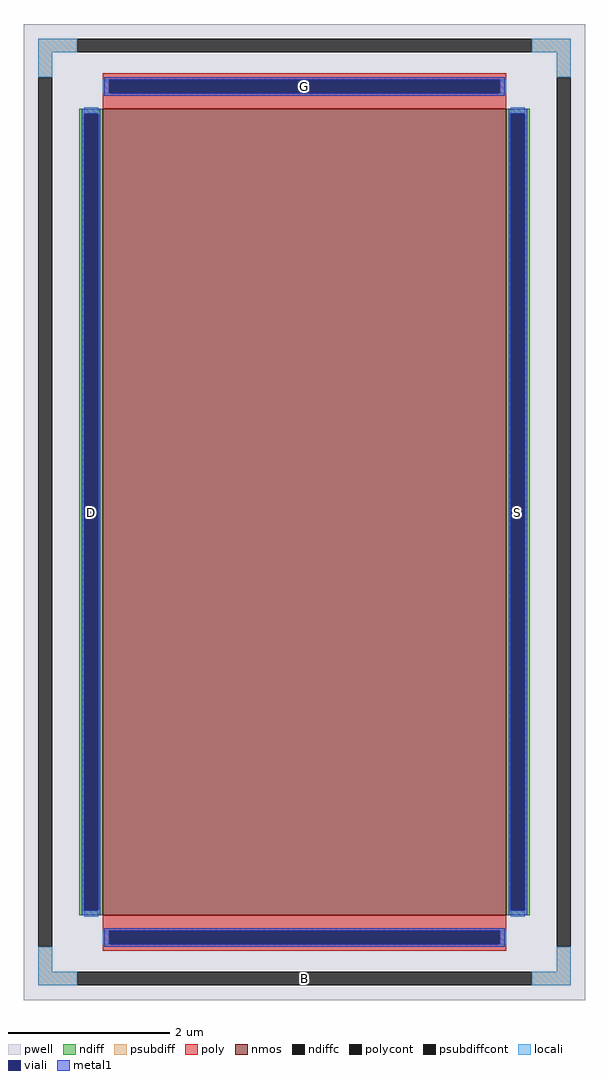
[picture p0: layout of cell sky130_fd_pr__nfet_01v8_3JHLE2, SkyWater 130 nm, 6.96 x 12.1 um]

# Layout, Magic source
magic
tech sky130A
magscale 1 2
<< pwell >>
rect -696 -1210 696 1210
<< nmos >>
rect -500 -1000 500 1000
<< ndiff >>
rect -558 988 -500 1000
rect -558 -988 -546 988
rect -512 -988 -500 988
rect -558 -1000 -500 -988
rect 500 988 558 1000
rect 500 -988 512 988
rect 546 -988 558 988
rect 500 -1000 558 -988
<< ndiffc >>
rect -546 -988 -512 988
rect 512 -988 546 988
<< psubdiff >>
rect -660 1140 -564 1174
rect 564 1140 660 1174
rect -660 1078 -626 1140
rect 626 1078 660 1140
rect -660 -1140 -626 -1078
rect 626 -1140 660 -1078
rect -660 -1174 -564 -1140
rect 564 -1174 660 -1140
<< psubdiffcont >>
rect -564 1140 564 1174
rect -660 -1078 -626 1078
rect 626 -1078 660 1078
rect -564 -1174 564 -1140
<< poly >>
rect -500 1072 500 1088
rect -500 1038 -484 1072
rect 484 1038 500 1072
rect -500 1000 500 1038
rect -500 -1038 500 -1000
rect -500 -1072 -484 -1038
rect 484 -1072 500 -1038
rect -500 -1088 500 -1072
<< polycont >>
rect -484 1038 484 1072
rect -484 -1072 484 -1038
<< locali >>
rect -660 1140 -564 1174
rect 564 1140 660 1174
rect -660 1078 -626 1140
rect 626 1078 660 1140
rect -500 1038 -484 1072
rect 484 1038 500 1072
rect -546 988 -512 1004
rect -546 -1004 -512 -988
rect 512 988 546 1004
rect 512 -1004 546 -988
rect -500 -1072 -484 -1038
rect 484 -1072 500 -1038
rect -660 -1140 -626 -1078
rect 626 -1140 660 -1078
rect -660 -1174 -564 -1140
rect 564 -1174 660 -1140
<< viali >>
rect -484 1038 484 1072
rect -546 -988 -512 988
rect 512 -988 546 988
rect -484 -1072 484 -1038
<< metal1 >>
rect -496 1072 496 1078
rect -496 1038 -484 1072
rect 484 1038 496 1072
rect -496 1032 496 1038
rect -552 988 -506 1000
rect -552 -988 -546 988
rect -512 -988 -506 988
rect -552 -1000 -506 -988
rect 506 988 552 1000
rect 506 -988 512 988
rect 546 -988 552 988
rect 506 -1000 552 -988
rect -496 -1038 496 -1032
rect -496 -1072 -484 -1038
rect 484 -1072 496 -1038
rect -496 -1078 496 -1072
<< labels >>
rlabel psubdiffcont 0 -1157 0 -1157 0 B
port 5 nsew
rlabel ndiffc -529 0 -529 0 0 D
port 6 nsew
rlabel ndiffc 529 0 529 0 0 S
port 7 nsew
rlabel polycont 0 1055 0 1055 0 G
port 8 nsew
<< properties >>
string FIXED_BBOX -643 -1157 643 1157
string gencell sky130_fd_pr__nfet_01v8
string library sky130
string parameters w 10 l 5 m 1 nf 1 diffcov 100 polycov 100 guard 1 glc 1 grc 1 gtc 1 gbc 1 tbcov 100 rlcov 100 topc 1 botc 1 poverlap 0 doverlap 1 lmin 0.15 wmin 0.42 class mosfet compatible {sky130_fd_pr__nfet_01v8 sky130_fd_pr__nfet_01v8_lvt  sky130_fd_bs_flash__special_sonosfet_star  sky130_fd_pr__nfet_g5v0d10v5 sky130_fd_pr__nfet_05v0_nvt  sky130_fd_pr__nfet_03v3_nvt} full_metal 1 conn_gates 0 viasrc 100 viadrn 100 viagate 100 viagb 0 viagr 0 viagl 0 viagt 0 doports 1
<< end >>
